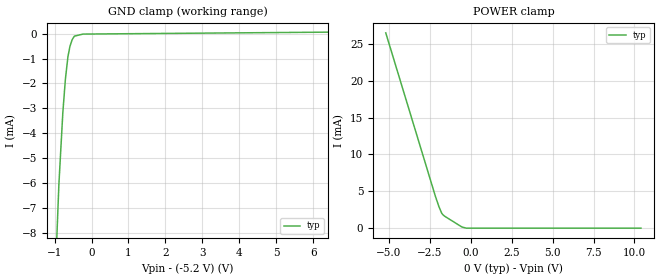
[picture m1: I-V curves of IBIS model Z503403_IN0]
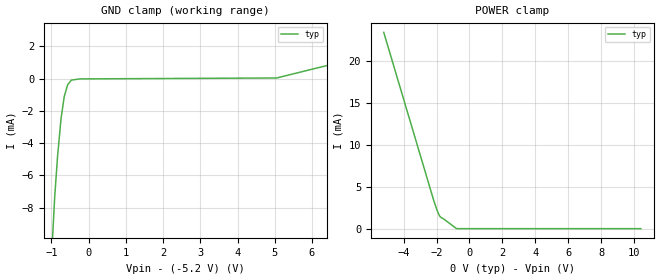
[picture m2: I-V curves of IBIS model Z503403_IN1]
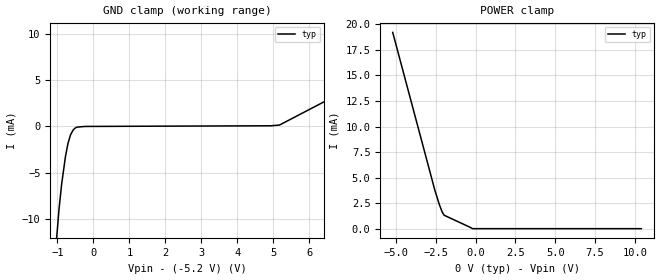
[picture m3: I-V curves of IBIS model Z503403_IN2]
| YOU ARE ONLY AUTHORIZED TO USE THIS SOFTWARE
| ACCORDING TO LICENSOR'S LICENSE RESTRICTIONS.
[IBIS Ver] 3.1
[File Name] mc10e142fn_-52.ibs
[File Rev] 2.0
[Source] Measured and created by ICX Technology
[Date] Friday 7/14/00 9:07:48 AM
[Copyright]
| (C) COPYRIGHT 1993-2000
| MENTOR GRAPHICS CORPORATION
| ICX STANDARD LIBRARY, ICX PROJECT MODELING,
| ICX CUSTOM MODELING, ICX VENDOR MODEL
| ALL RIGHTS RESERVED.
| THE FOLLOWING ARE TRADEMARKS OR SERVICE MARKS OF
| MENTOR GRAPHICS CORPORATION:ICX (R), ICX STANDARD
| LIBRARY(R), ICX PROJECT MODELING(R), ICX CUSTOM
| MODELING(R), qualityIBIS(TM), MODELVIEWER(TM),
| AND MODELEDITOR(TM)
| ALL COPIES OF SOFTWARE, INCLUDING BUT NOT LIMITED TO
| ANY MODIFICATIONS, ENHANCEMENTS OR DERIVATIVE WORKS,
| MUST CONTAIN ALL MENTOR GRAPHICS CORPORATION'S
| NOTICES AND LEGENDS, INCLUDING THOSE EMBEDDED IN
| SOFTWARE AND THOSE AFFIXED TO SOFTWARE MEDIUM
| AND CONTAINER, AS RECEIVED FROM MENTOR GRAPHICS
| CORPORATION.
|  ZAP Model Builder 2.7
[Component] MC10E142FN_-52
[Manufacturer] OnSemiconductor
[Package]
| variable   typ   min   max
R_pkg  .083ohms NA NA
L_pkg  4.299nH NA NA
C_pkg  1.045pF NA NA
[Pin] signal_name  model_name  R_pin  L_pin C_pin
1 VEE POWER .08 3.94n .925p
2 S-IN Z503403_IN0 .082 4.14n .995p
3 D0 Z503403_IN1 .084 4.354n 1.065p
4 D1 Z503403_IN1 .086 4.583n 1.135p
5 D2 Z503403_IN1 .086 4.583n 1.135p
6 D3 Z503403_IN1 .084 4.354n 1.065p
7 D4 Z503403_IN1 .082 4.14n .995p
8 VCCO POWER .08 3.94n .925p
9 Q0 Z503403_OUT0 .082 4.14n .995p
10 Q1 Z503403_OUT0 .084 4.354n 1.065p
11 Q2 Z503403_OUT0 .086 4.583n 1.135p
12 Q3 Z503403_OUT0 .086 4.583n 1.135p
13 Q4 Z503403_OUT0 .084 4.354n 1.065p
14 VCCO POWER .082 4.14n .995p
15 Q5 Z503403_OUT0 .08 3.94n .925p
16 VCC POWER .082 4.14n .995p
17 Q6 Z503403_OUT0 .084 4.354n 1.065p
18 Q7 Z503403_OUT0 .086 4.583n 1.135p
19 Q8 Z503403_OUT0 .086 4.583n 1.135p
20 VCCO POWER .084 4.354n 1.065p
21 D5 Z503403_IN1 .082 4.14n .995p
22 D6 Z503403_IN1 .08 3.94n .925p
23 D7 Z503403_IN1 .082 4.14n .995p
24 D8 Z503403_IN1 .084 4.354n 1.065p
25 SEL Z503403_IN2 .086 4.583n 1.135p
26 MR Z503403_IN3 .086 4.583n 1.135p
27 CLK1 Z503403_IN4 .084 4.354n 1.065p
28 CLK2 Z503403_IN4 .082 4.14n .995p
| Models and submodels in the file (6): Z503403_IN0 (Input_ECL), Z503403_IN1 (Input_ECL), Z503403_IN2 (Input_ECL), Z503403_IN3 (Input_ECL), Z503403_IN4 (Input_ECL), Z503403_OUT0 (Output_ECL)
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| (C) COPYRIGHT 1993-2000
| MENTOR GRAPHICS CORPORATION
| ICX STANDARD LIBRARY, ICX PROJECT MODELING,
| ICX CUSTOM MODELING, ICX VENDOR MODEL
| ALL RIGHTS RESERVED.
| THE FOLLOWING ARE TRADEMARKS OR SERVICE MARKS OF
| MENTOR GRAPHICS CORPORATION:ICX (R), ICX STANDARD
| LIBRARY(R), ICX PROJECT MODELING(R), ICX CUSTOM
| MODELING(R), qualityIBIS(TM), MODELVIEWER(TM),
| AND MODELEDITOR(TM)
| ALL COPIES OF SOFTWARE, INCLUDING BUT NOT LIMITED TO
| ANY MODIFICATIONS, ENHANCEMENTS OR DERIVATIVE WORKS,
| MUST CONTAIN ALL MENTOR GRAPHICS CORPORATION'S
| NOTICES AND LEGENDS, INCLUDING THOSE EMBEDDED IN
| SOFTWARE AND THOSE AFFIXED TO SOFTWARE MEDIUM
| AND CONTAINER, AS RECEIVED FROM MENTOR GRAPHICS
| CORPORATION.
| Model Application Version 1.89 2/18/99.
[Model] Z503403_IN0
Model_type Input_ECL
Vinl = -1.480V
Vinh = -1.130V
C_comp 4.000pF NA NA
| variable typ   min   max
[Voltage Range] -5.200V NA NA
[GND Clamp Reference] -5.200V NA NA
[POWER Clamp Reference] 0.000V NA NA
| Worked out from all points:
|   GND clamp passes 1 mA (typ) near -0.64 V on its own axis
[GND Clamp]
-5.2V     -235.1mA   NA         NA
-1.072V   -13.27mA   NA         NA
-884mV    -6.06mA    NA         NA
-777mV    -3.172mA   NA         NA
-708mV    -1.836mA   NA         NA
-639mV    -930.1uA   NA         NA
-584mV    -509.6uA   NA         NA
-523mV    -242.8uA   NA         NA
-465mV    -103.4uA   NA         NA
-232.5mV  -20.22uA   NA         NA
10.4V     103.5uA    NA         NA
[POWER Clamp]
-5.2V     26.5mA     NA         NA
-2.18V    4.421mA    NA         NA
-1.953V   2.926mA    NA         NA
-1.786V   2.054mA    NA         NA
-1.724V   1.854mA    NA         NA
-1.611V   1.634mA    NA         NA
-549.9mV  163.5uA    NA         NA
-274.9mV  0A         NA         NA
10.4V     0A         NA         NA
| (C) COPYRIGHT 1993-2000
| MENTOR GRAPHICS CORPORATION
| ICX STANDARD LIBRARY, ICX PROJECT MODELING,
| ICX CUSTOM MODELING, ICX VENDOR MODEL
| ALL RIGHTS RESERVED.
| THE FOLLOWING ARE TRADEMARKS OR SERVICE MARKS OF
| MENTOR GRAPHICS CORPORATION:ICX (R), ICX STANDARD
| LIBRARY(R), ICX PROJECT MODELING(R), ICX CUSTOM
| MODELING(R), qualityIBIS(TM), MODELVIEWER(TM),
| AND MODELEDITOR(TM)
| ALL COPIES OF SOFTWARE, INCLUDING BUT NOT LIMITED TO
| ANY MODIFICATIONS, ENHANCEMENTS OR DERIVATIVE WORKS,
| MUST CONTAIN ALL MENTOR GRAPHICS CORPORATION'S
| NOTICES AND LEGENDS, INCLUDING THOSE EMBEDDED IN
| SOFTWARE AND THOSE AFFIXED TO SOFTWARE MEDIUM
| AND CONTAINER, AS RECEIVED FROM MENTOR GRAPHICS
| CORPORATION.
| Model Application Version 1.89 2/18/99.
[Model] Z503403_IN1
Model_type Input_ECL
Vinl = -1.480V
Vinh = -1.130V
C_comp 4.000pF NA NA
| variable typ   min   max
[Voltage Range] -5.200V NA NA
[GND Clamp Reference] -5.200V NA NA
[POWER Clamp Reference] 0.000V NA NA
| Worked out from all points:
|   GND clamp passes 1 mA (typ) near -0.64 V on its own axis
[GND Clamp]
-5.2V     -272mA     NA         NA
-1.065V   -14.03mA   NA         NA
-913mV    -7.333mA   NA         NA
-837mV    -4.838mA   NA         NA
-743mV    -2.485mA   NA         NA
-657mV    -1.112mA   NA         NA
-566mV    -382.5uA   NA         NA
-466mV    -93.62uA   NA         NA
-233mV    -19.75uA   NA         NA
5.05V     37.12uA    NA         NA
10.4V     3.091mA    NA         NA
[POWER Clamp]
-5.2V     23.38mA    NA         NA
-2.178V   3.423mA    NA         NA
-1.991V   2.332mA    NA         NA
-1.894V   1.846mA    NA         NA
-1.801V   1.485mA    NA         NA
-1.719V   1.316mA    NA         NA
-1.566V   1.161mA    NA         NA
-783mV    0A         NA         NA
10.4V     0A         NA         NA
| (C) COPYRIGHT 1993-2000
| MENTOR GRAPHICS CORPORATION
| ICX STANDARD LIBRARY, ICX PROJECT MODELING,
| ICX CUSTOM MODELING, ICX VENDOR MODEL
| ALL RIGHTS RESERVED.
| THE FOLLOWING ARE TRADEMARKS OR SERVICE MARKS OF
| MENTOR GRAPHICS CORPORATION:ICX (R), ICX STANDARD
| LIBRARY(R), ICX PROJECT MODELING(R), ICX CUSTOM
| MODELING(R), qualityIBIS(TM), MODELVIEWER(TM),
| AND MODELEDITOR(TM)
| ALL COPIES OF SOFTWARE, INCLUDING BUT NOT LIMITED TO
| ANY MODIFICATIONS, ENHANCEMENTS OR DERIVATIVE WORKS,
| MUST CONTAIN ALL MENTOR GRAPHICS CORPORATION'S
| NOTICES AND LEGENDS, INCLUDING THOSE EMBEDDED IN
| SOFTWARE AND THOSE AFFIXED TO SOFTWARE MEDIUM
| AND CONTAINER, AS RECEIVED FROM MENTOR GRAPHICS
| CORPORATION.
| Model Application Version 1.89 2/18/99.
[Model] Z503403_IN2
Model_type Input_ECL
Vinl = -1.480V
Vinh = -1.130V
C_comp 4.000pF NA NA
| variable typ   min   max
[Voltage Range] -5.200V NA NA
[GND Clamp Reference] -5.200V NA NA
[POWER Clamp Reference] 0.000V NA NA
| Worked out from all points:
|   GND clamp passes 1 mA (typ) near -0.64 V on its own axis
[GND Clamp]
-5.2V     -277mA     NA         NA
-1.065V   -14.03mA   NA         NA
-957mV    -8.954mA   NA         NA
-883mV    -6.214mA   NA         NA
-776mV    -3.208mA   NA         NA
-708mV    -1.853mA   NA         NA
-639mV    -947.4uA   NA         NA
-566mV    -411.3uA   NA         NA
-466mV    -97.01uA   NA         NA
4.934V    52.49uA    NA         NA
5.171V    133.2uA    NA         NA
10.4V     10.72mA    NA         NA
[POWER Clamp]
-5.2V     19.22mA    NA         NA
-2.553V   3.75mA     NA         NA
-2.289V   2.43mA     NA         NA
-2.1V     1.648mA    NA         NA
-1.972V   1.313mA    NA         NA
-380.7mV  162.1uA    NA         NA
-190.3mV  0A         NA         NA
10.4V     0A         NA         NA
